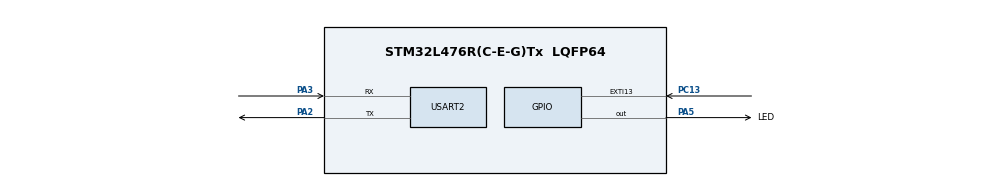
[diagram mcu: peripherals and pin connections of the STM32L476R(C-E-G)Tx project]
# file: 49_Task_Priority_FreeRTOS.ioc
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FREERTOS.Tasks01=defaultTask,0,128,StartDefaultTask,Default,NULL,Dynamic,NULL,NULL
Mcu.Family=STM32L4
Mcu.Name=STM32L476R(C-E-G)Tx
Mcu.Package=LQFP64
NVIC.EXTI15_10_IRQn=true\:5\:0\:false\:false\:true\:true\:true\:true\:true
NVIC.PriorityGroup=NVIC_PRIORITYGROUP_4
PA2.Mode=Asynchronous
PA2.Signal=USART2_TX
PA3.Mode=Asynchronous
PA3.Signal=USART2_RX
PA5.GPIO_Label=LED
PA5.PinState=GPIO_PIN_RESET
PA5.Signal=GPIO_Output
PC13.GPIO_PuPd=GPIO_NOPULL
PC13.Signal=GPXTI13
ProjectManager.HeapSize=0x200
ProjectManager.StackSize=0x400
ProjectManager.TargetToolchain=STM32CubeIDE
RCC.HSE_VALUE=8000000
RCC.HSI_VALUE=16000000
RCC.LSE_VALUE=32768
RCC.MSI_VALUE=4000000
RCC.VCOOutputFreq_Value=32000000
USART2.VirtualMode-Asynchronous=VM_ASYNC
VP_FREERTOS_VS_CMSIS_V1.Mode=CMSIS_V1
board=custom

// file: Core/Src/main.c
/* USER CODE BEGIN Header */
/**
  ******************************************************************************
  * @file           : main.c
  * @brief          : Main program body
  ******************************************************************************
  * @attention
  *
  * Copyright (c) 2026 STMicroelectronics.
  * All rights reserved.
  *
  * This software is licensed under terms that can be found in the LICENSE file
  * in the root directory of this software component.
  * If no LICENSE file comes with this software, it is provided AS-IS.
  *
  ******************************************************************************
  */
/* USER CODE END Header */
#include "main.h"
#include "cmsis_os.h"

/* USER CODE BEGIN Includes */
#include<stdio.h>
/* USER CODE END Includes */

/* USER CODE BEGIN PD */
#define FALSE 0
#define TRUE 1
/* USER CODE END PD */

UART_HandleTypeDef huart2;

osThreadId defaultTaskHandle;
/* USER CODE BEGIN PV */

TaskHandle_t xTaskHandle1 = NULL;
TaskHandle_t xTaskHandle2 = NULL;

uint8_t switch_priority = FALSE;

/* USER CODE END PV */

void SystemClock_Config(void);
static void MX_GPIO_Init(void);
static void MX_USART2_UART_Init(void);
void StartDefaultTask(void const * argument);

/* USER CODE BEGIN 0 */
void led_task_handler(void *params)
{
	printf("led task\r\n");
	UBaseType_t p1,p2;
	printf("Priority of led_task:%ld\r\n",uxTaskPriorityGet(xTaskHandle1));
	printf("Priority of button_task:%ld\r\n",uxTaskPriorityGet(xTaskHandle2));
	while(1)
	{

		if(switch_priority)
		{
			switch_priority = FALSE;
			p1 = uxTaskPriorityGet(xTaskHandle1);
			p2 = uxTaskPriorityGet(xTaskHandle2);

			vTaskPrioritySet(xTaskHandle1, p2);
			vTaskPrioritySet(xTaskHandle2, p1);

		}
		else
		{
			vTaskDelay(pdMS_TO_TICKS(100));
			HAL_GPIO_TogglePin(LED_GPIO_Port, LED_Pin);
		}

	}

}

void button_Task_handler(void *params)
{
	printf("button task\r\n");
		UBaseType_t p1,p2;
		printf("Priority of led_task:%ld\r\n",uxTaskPriorityGet(xTaskHandle1));
		printf("Priority of button_task:%ld\r\n",uxTaskPriorityGet(xTaskHandle2));
		while(1)
		{

			if(switch_priority)
			{
				switch_priority = FALSE;
				p1 = uxTaskPriorityGet(xTaskHandle1);
				p2 = uxTaskPriorityGet(xTaskHandle2);

				vTaskPrioritySet(xTaskHandle1, p2);
				vTaskPrioritySet(xTaskHandle2, p1);

			}
			else
			{
				vTaskDelay(pdMS_TO_TICKS(1000));
				HAL_GPIO_TogglePin(LED_GPIO_Port, LED_Pin);
			}

		}

}

void HAL_GPIO_EXTI_Callback(uint16_t GPIO_Pin)
{
	switch_priority = TRUE;
}

/* USER CODE END 0 */

int main(void)
{

  /* MCU Configuration--------------------------------------------------------*/

  /* Reset of all peripherals, Initializes the Flash interface and the Systick. */
  HAL_Init();

  /* Configure the system clock */
  SystemClock_Config();

  /* Initialize all configured peripherals */
  MX_GPIO_Init();
  MX_USART2_UART_Init();
  /* USER CODE BEGIN 2 */
  printf("Testing the SVW...\n");

  /* USER CODE END 2 */

  /* Create the thread(s) */
  /* definition and creation of defaultTask */
  osThreadDef(defaultTask, StartDefaultTask, osPriorityNormal, 0, 128);
  defaultTaskHandle = osThreadCreate(osThread(defaultTask), NULL);

  /* USER CODE BEGIN RTOS_THREADS */
  /* add threads, ... */
  //create Led task
  xTaskCreate(led_task_handler,
		  "Led-Task",
		  200,
		  NULL,
		  1,
		  &xTaskHandle1);

  //create button task
  xTaskCreate(button_Task_handler,
		  "Button-Task",
		  200,
		  NULL,
		  2,
		  &xTaskHandle2);
  /* USER CODE END RTOS_THREADS */

  /* Start scheduler */
  osKernelStart();

  /* We should never get here as control is now taken by the scheduler */

  /* Infinite loop */
  while (1)
  {

  }
}

void SystemClock_Config(void)
{
  RCC_OscInitTypeDef RCC_OscInitStruct = {0};
  RCC_ClkInitTypeDef RCC_ClkInitStruct = {0};

  /** Configure the main internal regulator output voltage
  */
  if (HAL_PWREx_ControlVoltageScaling(PWR_REGULATOR_VOLTAGE_SCALE1) != HAL_OK)
  {
    Error_Handler();
  }

  /** Initializes the RCC Oscillators according to the specified parameters
  * in the RCC_OscInitTypeDef structure.
  */
  RCC_OscInitStruct.OscillatorType = RCC_OSCILLATORTYPE_MSI;
  RCC_OscInitStruct.MSIState = RCC_MSI_ON;
  RCC_OscInitStruct.MSICalibrationValue = 0;
  RCC_OscInitStruct.MSIClockRange = RCC_MSIRANGE_6;
  RCC_OscInitStruct.PLL.PLLState = RCC_PLL_NONE;
  if (HAL_RCC_OscConfig(&RCC_OscInitStruct) != HAL_OK)
  {
    Error_Handler();
  }

  /** Initializes the CPU, AHB and APB buses clocks
  */
  RCC_ClkInitStruct.ClockType = RCC_CLOCKTYPE_HCLK|RCC_CLOCKTYPE_SYSCLK
                              |RCC_CLOCKTYPE_PCLK1|RCC_CLOCKTYPE_PCLK2;
  RCC_ClkInitStruct.SYSCLKSource = RCC_SYSCLKSOURCE_MSI;
  RCC_ClkInitStruct.AHBCLKDivider = RCC_SYSCLK_DIV1;
  RCC_ClkInitStruct.APB1CLKDivider = RCC_HCLK_DIV1;
  RCC_ClkInitStruct.APB2CLKDivider = RCC_HCLK_DIV1;

  if (HAL_RCC_ClockConfig(&RCC_ClkInitStruct, FLASH_LATENCY_0) != HAL_OK)
  {
    Error_Handler();
  }
}

static void MX_USART2_UART_Init(void)
{

  huart2.Instance = USART2;
  huart2.Init.BaudRate = 115200;
  huart2.Init.WordLength = UART_WORDLENGTH_8B;
  huart2.Init.StopBits = UART_STOPBITS_1;
  huart2.Init.Parity = UART_PARITY_NONE;
  huart2.Init.Mode = UART_MODE_TX_RX;
  huart2.Init.HwFlowCtl = UART_HWCONTROL_NONE;
  huart2.Init.OverSampling = UART_OVERSAMPLING_16;
  huart2.Init.OneBitSampling = UART_ONE_BIT_SAMPLE_DISABLE;
  huart2.AdvancedInit.AdvFeatureInit = UART_ADVFEATURE_NO_INIT;
  if (HAL_UART_Init(&huart2) != HAL_OK)
  {
    Error_Handler();
  }

}

static void MX_GPIO_Init(void)
{
  GPIO_InitTypeDef GPIO_InitStruct = {0};

  /* GPIO Ports Clock Enable */
  __HAL_RCC_GPIOC_CLK_ENABLE();
  __HAL_RCC_GPIOA_CLK_ENABLE();

  /*Configure GPIO pin Output Level */
  HAL_GPIO_WritePin(LED_GPIO_Port, LED_Pin, GPIO_PIN_RESET);

  /*Configure GPIO pin : PC13 */
  GPIO_InitStruct.Pin = GPIO_PIN_13;
  GPIO_InitStruct.Mode = GPIO_MODE_IT_RISING;
  GPIO_InitStruct.Pull = GPIO_NOPULL;
  HAL_GPIO_Init(GPIOC, &GPIO_InitStruct);

  /*Configure GPIO pin : LED_Pin */
  GPIO_InitStruct.Pin = LED_Pin;
  GPIO_InitStruct.Mode = GPIO_MODE_OUTPUT_PP;
  GPIO_InitStruct.Pull = GPIO_NOPULL;
  GPIO_InitStruct.Speed = GPIO_SPEED_FREQ_LOW;
  HAL_GPIO_Init(LED_GPIO_Port, &GPIO_InitStruct);

  /* EXTI interrupt init*/
  HAL_NVIC_SetPriority(EXTI15_10_IRQn, 5, 0);
  HAL_NVIC_EnableIRQ(EXTI15_10_IRQn);

}

void StartDefaultTask(void const * argument)
{
  for(;;)
  {
    osDelay(1);
  }
}

void Error_Handler(void)
{
  __disable_irq();
  while (1)
  {
  }
}
